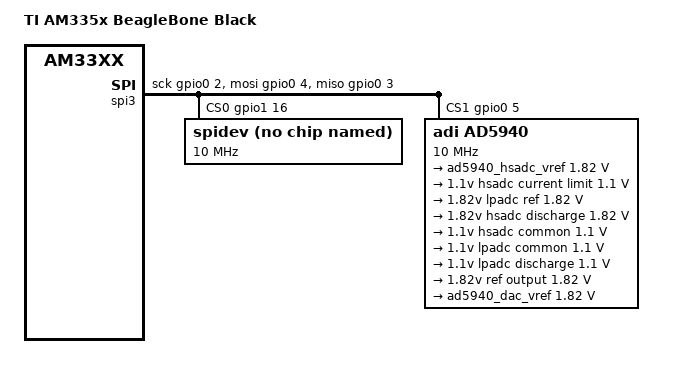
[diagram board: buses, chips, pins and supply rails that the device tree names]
// SPDX-License-Identifier: GPL-2.0-only
/*
 * Copyright (C) 2012 Texas Instruments Incorporated - http://www.ti.com/
 */
/dts-v1/;

#include "am33xx.dtsi"
#include "am335x-bone-common.dtsi"
#include "am335x-boneblack-common.dtsi"

#include <dt-bindings/iio/adc/adi,ad5940.h>

&am33xx_pinmux {
	spi0_pins: spi0_pins {
		pinctrl-single,pins = <
			AM33XX_IOPAD(0x950, PIN_INPUT | MUX_MODE7) /* (A17) spi0_sclk.gpio0[2] */
			AM33XX_IOPAD(0x954, PIN_INPUT | MUX_MODE7) /* (B17) spi0_d0.gpio0[3] */
			AM33XX_IOPAD(0x958, PIN_INPUT | MUX_MODE7) /* (B16) spi0_d1.gpio0[4] */
			AM33XX_IOPAD(0x95c, PIN_INPUT | MUX_MODE7) /* (A16) spi0_cs0.gpio0[5] */
		>;
	};

	ad5940_pins: ad5940_pins {
		pinctrl-single,pins = <
			AM33XX_PADCONF(AM335X_PIN_GPMC_AD12, PIN_INPUT_PULLUP, MUX_MODE7)
		>;
	};
};

/ {
	model = "TI AM335x BeagleBone Black";
	compatible = "ti,am335x-bone-black", "ti,am335x-bone", "ti,am33xx";

	spi3: spi3 {
		compatible = "spi-gpio";
		gpio-sck = <&gpio0 2 GPIO_ACTIVE_HIGH>;
		gpio-miso = <&gpio0 3 GPIO_ACTIVE_HIGH>;
		gpio-mosi = <&gpio0 4 GPIO_ACTIVE_HIGH>;
		cs-gpios = <&gpio1 16 GPIO_ACTIVE_HIGH &gpio0 5 GPIO_ACTIVE_HIGH>;
		num-chipselects = <2>;
		status = "okay";

		pinctrl-names = "default";
		pinctrl-0 = <&spi0_pins>;
		#address-cells = <1>;
		#size-cells = <0>;

		spidev@0 {
			compatible = "spidev";
			spi-max-frequency = <10000000>;
			reg = <0>;
		};

		ad5940@1 {
			compatible = "adi,ad5940";
			reg = <1>;
			spi-max-frequency = <10000000>;

			regulators {
				ad5940_hsadc_vref: hsadc_ref {
					regulator-name = "1.82v hsadc ref";
					regulator-min-microvolt = <1820000>;
					regulator-max-microvolt = <1820000>;
				};
				hsadc_limit {
					regulator-name = "1.1v hsadc current limit";
					regulator-min-microvolt = <1100000>;
					regulator-max-microvolt = <1100000>;
				};
				lpadc_ref {
					regulator-name = "1.82v lpadc ref";
					regulator-min-microvolt = <1820000>;
					regulator-max-microvolt = <1820000>;
				};
				hsadc_discharge {
					regulator-name = "1.82v hsadc discharge";
					regulator-min-microvolt = <1820000>;
					regulator-max-microvolt = <1820000>;
				};
				hsadc_com {
					regulator-name = "1.1v hsadc common";
					regulator-min-microvolt = <1100000>;
					regulator-max-microvolt = <1100000>;
				};
				lpadc_com {
					regulator-name = "1.1v lpadc common";
					regulator-min-microvolt = <1100000>;
					regulator-max-microvolt = <1100000>;
				};
				lpadc_discharge {
					regulator-name = "1.1v lpadc discharge";
					regulator-min-microvolt = <1100000>;
					regulator-max-microvolt = <1100000>;
				};
				ref_out {
					regulator-name = "1.82v ref output";
					regulator-min-microvolt = <1820000>;
					regulator-max-microvolt = <1820000>;
				};
			};

			ad5940_dac_vref: dac_ref {
				compatible = "regulator-fixed";
				regulator-name = "fixed-supply";
				regulator-min-microvolt = <1820000>;
				regulator-max-microvolt = <1820000>;
				regulator-boot-on;
			};

			ad5940-dac {
				compatible = "adi,ad5940-dac";

				vref-supply = <&ad5940_dac_vref>;
			};

			ad5940-pinctrl {
				compatible = "adi,ad5940-pinctrl";

				ad5940-gpio {
					gpio-controller;
					#gpio-cells = <2>;	//for client to pass parameters.
				};

				pinctrl_gp0int0: gp0int0 {
					functions = "int0out";
					groups = "gpio0";
				};
				pinctrl_gp0seq0: gp0seq0 {
					functions = "seq0trig";
					groups = "gpio0";
				};
				pinctrl_gp0sync0: gp0sync0 {
					functions = "sync0out";
					groups = "gpio0";
				};
				pinctrl_gp0gpio0: gp0gpio0 {
					functions = "gpio0";
					groups = "gpio0";
				};
				pinctrl_gp1gpio1: gp1gpio1 {
					functions = "gpio1";
					groups = "gpio1";
				};
				pinctrl_gp1seq1: gp1seq1 {
					functions = "seq1trig";
					groups = "gpio1";
				};
				pinctrl_gp1sync1: gp1int0 {
					functions = "int0out";
					groups = "gpio1";
				};
				pinctrl_gp1deepsleep: gp1deepsleep {
					functions = "deepsleep";
					groups = "gpio1";
				};
				pinctrl_gp2por: gp2por {
					functions = "por";
					groups = "gpio2";
				};
				pinctrl_gp2seq2: gp2seq2 {
					functions = "seq2trig";
					groups = "gpio2";
				};
				pinctrl_gp2sync2: gp2sync2 {
					functions = "sync2out";
					groups = "gpio2";
				};
				pinctrl_gp2extclk: gp2extclk {
					functions = "extclk";
					groups = "gpio2";
				};
				pinctrl_gp3gpio3: gp3gpio3 {
					functions = "gpio3";
					groups = "gpio3";
				};
				pinctrl_gp3seq3: gp3seq3 {
					functions = "seq3trig";
					groups = "gpio3";
				};
				pinctrl_gp3sync3: gp3sync3 {
					functions = "sync3out";
					groups = "gpio3";
				};
				pinctrl_gp3int0: gp3int0 {
					functions = "int0out";
					groups = "gpio3";
				};
				pinctrl_gp4gpio4: gp4gpio4 {
					functions = "gpio4";
					groups = "gpio4";
				};
				pinctrl_gp4seq0: gp4seq0 {
					functions = "seq0trig";
					groups = "gpio4";
				};
				pinctrl_gp4sync4: gp4sync4 {
					functions = "sync4out";
					groups = "gpio4";
				};
				pinctrl_gp4int1: gp4int1 {
					functions = "int1out";
					groups = "gpio4";
				};
				pinctrl_gp5gpio5: gp5gpio5 {
					functions = "gpio5";
					groups = "gpio5";
				};
				pinctrl_gp5seq1: gp5seq1 {
					functions = "seq1trig";
					groups = "gpio5";
				};
				pinctrl_gp5sync5: gp5sync5 {
					functions = "sync5out";
					groups = "gpio5";
				};
				pinctrl_gp5extclk: gp5extclk {
					functions = "extclk";
					groups = "gpio5";
				};
				pinctrl_gp6gpio6: gp6gpio6 {
					functions = "gpio6";
					groups = "gpio6";
				};
				pinctrl_gp6seq2: gp6seq2 {
					functions = "seq2trig";
					groups = "gpio6";
				};
				pinctrl_gp6sync6: gp6sync6 {
					functions = "sync6out";
					groups = "gpio6";
				};
				pinctrl_gp6int0: gp6int0 {
					functions = "int0out";
					groups = "gpio6";
				};
				pinctrl_gp7gpio7: gp7gpio7 {
					functions = "gpio7";
					groups = "gpio7";
				};
				pinctrl_gp7seq3: gp7seq3 {
					functions = "seq3trig";
					groups = "gpio7";
				};
				pinctrl_gp7sync7: gp7sync7 {
					functions = "sync0out";
					groups = "gpio7";
				};
				pinctrl_gp7: gp7int1 {
					functions = "int1out";
					groups = "gpio7";
				};
			};

			ad5940_intc: interrupt-controller {
				compatible = "adi,ad5940-intc";

				interrupt-parent = <&gpio0>;
				interrupts = <27 IRQ_TYPE_EDGE_FALLING>;

				interrupt-controller;
				#interrupt-cells = <1>;

				// adi,interrupt-polarity;
			};

			ad5940-adc {
				compatible = "adi,ad5940-adc";

				vref-supply = <&ad5940_hsadc_vref>;
				interrupt-parent = <&ad5940_intc>;
				interrupts = <0>;

				#address-cells = <1>;
				#size-cells = <0>;

				channel@0 {
					reg = <0>;
					diff-channels = <AD5940_ADC_INPUTP_VCE0
							AD5940_ADC_INPUTN_VBIAS0>;
					channel-name = "Vce-Vbias";
				};

				channel@1 {
					reg = <1>;
					diff-channels = <AD5940_ADC_INPUTP_VRE0
							AD5940_ADC_INPUTN_VBIAS0>;
					channel-name = "Vre-Vbias";
				};

				channel@2 {
					reg = <2>;
					diff-channels = <AD5940_ADC_INPUTP_SE0
							AD5940_ADC_INPUTN_VBIAS0>;
					channel-name = "Vse-Vbias";
				};

				channel@3 {
					reg = <3>;
					diff-channels = <AD5940_ADC_INPUTP_DE0
							AD5940_ADC_INPUTN_VBIAS0>;
					channel-name = "Vde-Vbias";
				};

				channel@4 {
					reg = <4>;
					diff-channels = <AD5940_ADC_INPUTP_AIN0
							AD5940_ADC_INPUTN_VBIAS0>;
					channel-name = "ain0-Vbias";
				};

				channel@5 {
					reg = <5>;
					diff-channels = <AD5940_ADC_INPUTP_AIN1
							AD5940_ADC_INPUTN_VBIAS0>;
					channel-name = "ain1-Vbias";
				};

				channel@6 {
					reg = <6>;
					diff-channels = <AD5940_ADC_INPUTP_AIN2
							AD5940_ADC_INPUTN_VBIAS0>;
					channel-name = "ain2-Vbias";
				};

				channel@7 {
					reg = <7>;
					diff-channels = <AD5940_ADC_INPUTP_AIN3
							AD5940_ADC_INPUTN_VBIAS0>;
					channel-name = "ain3-Vbias";
				};

				channel@8 {
					reg = <8>;
					diff-channels = <AD5940_ADC_INPUTP_AIN4
							AD5940_ADC_INPUTN_VBIAS0>;
					channel-name = "ain4-Vbias";
				};

				channel@9 {
					reg = <9>;
					diff-channels = <AD5940_ADC_INPUTP_AIN6
							AD5940_ADC_INPUTN_VBIAS0>;
					channel-name = "ain6-Vbias";
				};

				channel@10 {
					reg = <10>;
					diff-channels = <AD5940_ADC_INPUTP_LPTIA_LP
							AD5940_ADC_INPUTN_LPTIA>;
					channel-name = "Low power TIA DC";
				};

				channel@11 {
					reg = <11>;
					diff-channels = <AD5940_ADC_INPUTP_LPTIA
							AD5940_ADC_INPUTN_LPTIA>;
					channel-name = "Low power TIA AC";
				};

				channel@12 {
					reg = <12>;
					diff-channels = <AD5940_ADC_INPUTP_HSTIA
							AD5940_ADC_INPUTN_HSTIA>;
					channel-name = "High Speed TIA";
				};

				channel@13 {
					reg = <13>;
					diff-channels = <AD5940_ADC_INPUTP_TEMP
							AD5940_ADC_INPUTN_VBIAS0>;
					channel-name = "Temperature";
				};
			};
		};
	};
};

&cpu0_opp_table {
	/*
	 * All PG 2.0 silicon may not support 1GHz but some of the early
	 * BeagleBone Blacks have PG 2.0 silicon which is guaranteed
	 * to support 1GHz OPP so enable it for PG 2.0 on this board.
	 */
	oppnitro-1000000000 {
		opp-supported-hw = <0x06 0x0100>;
	};
};
